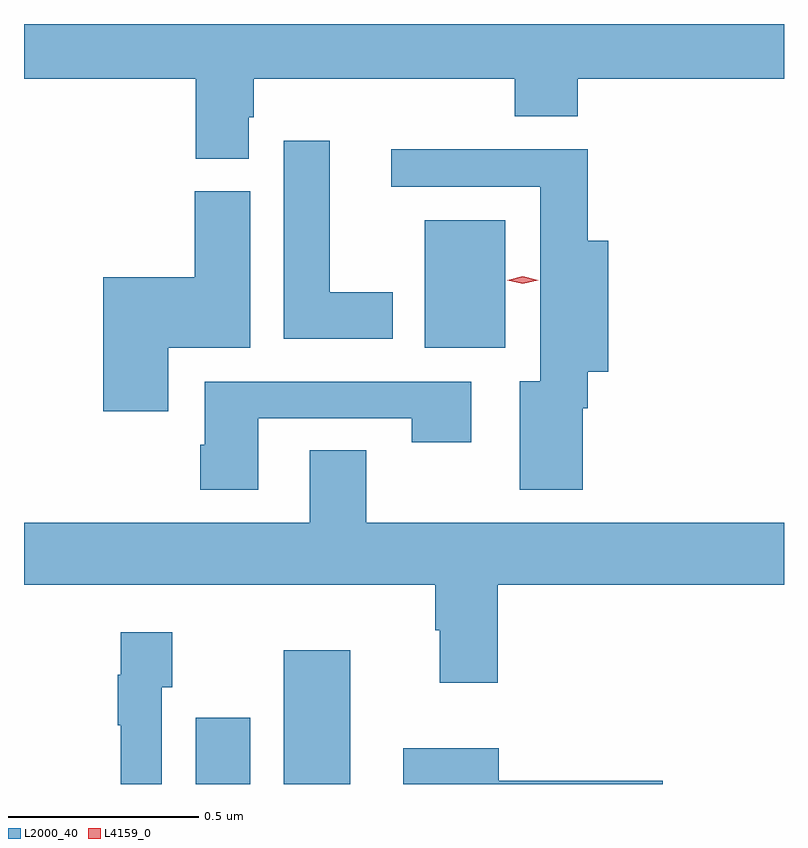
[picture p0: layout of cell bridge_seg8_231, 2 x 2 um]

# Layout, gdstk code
import gdstk
lib = gdstk.Library(unit=1e-6, precision=1e-09)
def R(c, l, rs):  # rectangles x0, y0, x1, y1
    for r in rs: c.add(gdstk.rectangle(r[:2], r[2:], *l))
def P(c, l, *ps):  # polygons
    for p in ps: c.add(gdstk.Polygon(p, *l))
L2000_40 = (2000, 40)
L4159_0 = (4159, 0)

bridge_seg8_231 = lib.new_cell('bridge_seg8_231')
R(bridge_seg8_231, L2000_40, [(243.941,1141.284,244.084,1141.459), (244.172,1141.284,244.348,1141.636), (244.544,1142.432,244.756,1142.767)])
P(bridge_seg8_231, L2000_40, [(244.081,1143.039),(244.094,1143.039),(244.094,1143.14),(244.781,1143.14),(244.781,1143.041),(244.946,1143.041),(244.946,1143.14),(245.489,1143.14),(245.489,1143.284),(243.489,1143.284),(243.489,1143.14),(243.941,1143.14),(243.941,1142.929),(244.081,1142.929)],
  [(244.459,1142.578),(244.294,1142.578),(244.294,1142.977),(244.172,1142.977),(244.172,1142.456),(244.459,1142.456)],
  [(244.96,1142.273),(244.973,1142.273),(244.973,1142.369),(245.026,1142.369),(245.026,1142.713),(244.973,1142.713),(244.973,1142.954),(244.455,1142.954),(244.455,1142.856),(244.847,1142.856),(244.847,1142.344),(244.793,1142.344),(244.793,1142.058),(244.96,1142.058)],
  [(243.868,1142.432),(244.084,1142.432),(244.084,1142.844),(243.938,1142.844),(243.938,1142.617),(243.698,1142.617),(243.698,1142.265),(243.868,1142.265)],
  [(244.105,1142.247),(244.51,1142.247),(244.51,1142.184),(244.666,1142.184),(244.666,1142.343),(243.965,1142.343),(243.965,1142.177),(243.953,1142.177),(243.953,1142.058),(244.105,1142.058)],
  [(244.736,1141.808),(245.489,1141.808),(245.489,1141.972),(244.389,1141.972),(244.389,1142.162),(244.241,1142.162),(244.241,1141.972),(243.489,1141.972),(243.489,1141.808),(244.571,1141.808),(244.571,1141.688),(244.583,1141.688),(244.583,1141.551),(244.736,1141.551)],
  [(243.852,1141.539),(243.879,1141.539),(243.879,1141.684),(243.744,1141.684),(243.744,1141.571),(243.736,1141.571),(243.736,1141.439),(243.744,1141.439),(243.744,1141.284),(243.852,1141.284)],
  [(245.17,1141.292),(244.738,1141.292),(244.738,1141.378),(244.487,1141.378),(244.487,1141.284),(245.17,1141.284)])
P(bridge_seg8_231, L4159_0, [(244.801,1142.6),(244.761,1142.61),(244.761,1142.61),(244.761,1142.61),(244.801,1142.62),(244.842,1142.61),(244.842,1142.61),(244.842,1142.61)])

lib.write_gds('bridge_seg8_231.gds')
